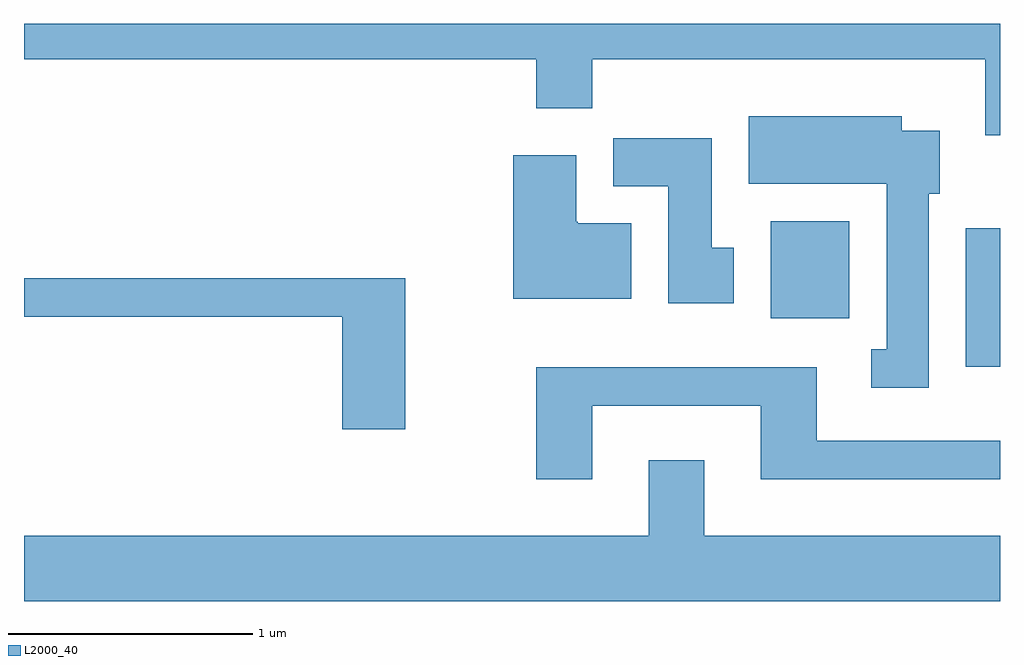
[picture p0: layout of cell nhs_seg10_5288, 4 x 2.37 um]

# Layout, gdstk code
import gdstk
lib = gdstk.Library(unit=1e-6, precision=1e-09)
def R(c, l, rs):  # rectangles x0, y0, x1, y1
    for r in rs: c.add(gdstk.rectangle(r[:2], r[2:], *l))
def P(c, l, *ps):  # polygons
    for p in ps: c.add(gdstk.Polygon(p, *l))
L2000_40 = (2000, 40)

nhs_seg10_5288 = lib.new_cell('nhs_seg10_5288')
R(nhs_seg10_5288, L2000_40, [(345.471,2097.116,345.611,2097.684), (344.671,2097.316,344.994,2097.714)])
P(nhs_seg10_5288, L2000_40, [(345.611,2098.522),(341.611,2098.522),(341.611,2098.376),(343.711,2098.376),(343.711,2098.176),(343.939,2098.176),(343.939,2098.376),(345.551,2098.376),(345.551,2098.066),(345.611,2098.066)],
  [(345.319,2097.826),(345.364,2097.826),(345.364,2098.084),(345.209,2098.084),(345.209,2098.144),(344.581,2098.144),(344.581,2097.866),(345.146,2097.866),(345.146,2097.189),(345.083,2097.189),(345.083,2097.031),(345.319,2097.031)],
  [(344.519,2097.604),(344.429,2097.604),(344.429,2098.054),(344.026,2098.054),(344.026,2097.856),(344.251,2097.856),(344.251,2097.376),(344.519,2097.376)],
  [(344.099,2097.704),(343.88,2097.704),(343.88,2097.71),(343.874,2097.71),(343.874,2097.984),(343.616,2097.984),(343.616,2097.396),(344.099,2097.396)],
  [(343.174,2097.479),(341.611,2097.479),(341.611,2097.321),(342.916,2097.321),(342.916,2096.861),(343.174,2096.861)],
  [(343.939,2096.956),(344.631,2096.956),(344.631,2096.656),(345.611,2096.656),(345.611,2096.814),(344.859,2096.814),(344.859,2097.114),(343.711,2097.114),(343.711,2096.656),(343.939,2096.656)],
  [(345.611,2096.424),(344.399,2096.424),(344.399,2096.734),(344.171,2096.734),(344.171,2096.424),(341.611,2096.424),(341.611,2096.156),(345.611,2096.156)])

lib.write_gds('nhs_seg10_5288.gds')
